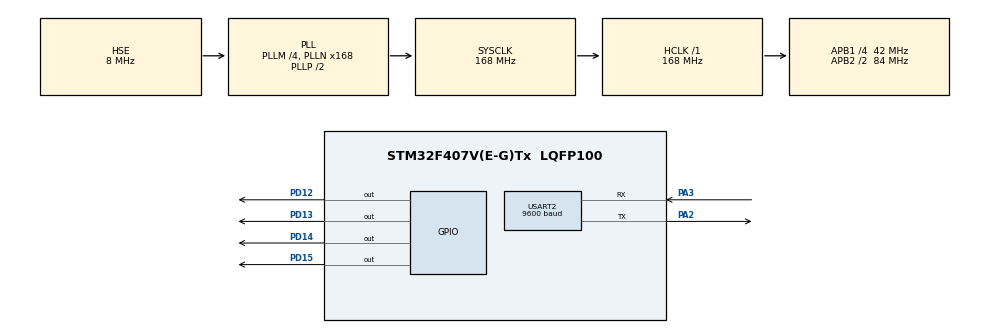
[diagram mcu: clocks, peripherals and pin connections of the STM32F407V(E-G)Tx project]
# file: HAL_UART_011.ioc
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Mcu.Family=STM32F4
Mcu.Name=STM32F407V(E-G)Tx
Mcu.Package=LQFP100
NVIC.PriorityGroup=NVIC_PRIORITYGROUP_4
NVIC.USART2_IRQn=true\:0\:0\:false\:false\:true\:true\:true\:true
PA13.Mode=Serial_Wire
PA13.Signal=SYS_JTMS-SWDIO
PA14.Mode=Serial_Wire
PA14.Signal=SYS_JTCK-SWCLK
PA2.Mode=Asynchronous
PA2.Signal=USART2_TX
PA3.Mode=Asynchronous
PA3.Signal=USART2_RX
PD12.Signal=GPIO_Output
PD13.Signal=GPIO_Output
PD14.Signal=GPIO_Output
PD15.Signal=GPIO_Output
PH0-OSC_IN.Mode=HSE-External-Oscillator
PH0-OSC_IN.Signal=RCC_OSC_IN
PH1-OSC_OUT.Mode=HSE-External-Oscillator
PH1-OSC_OUT.Signal=RCC_OSC_OUT
ProjectManager.HeapSize=0x200
ProjectManager.StackSize=0x400
ProjectManager.TargetToolchain=STM32CubeIDE
RCC.48MHZClocksFreq_Value=84000000
RCC.AHBFreq_Value=168000000
RCC.APB1CLKDivider=RCC_HCLK_DIV4
RCC.APB1Freq_Value=42000000
RCC.APB1TimFreq_Value=84000000
RCC.APB2CLKDivider=RCC_HCLK_DIV2
RCC.APB2Freq_Value=84000000
RCC.APB2TimFreq_Value=168000000
RCC.CortexFreq_Value=168000000
RCC.HCLKFreq_Value=168000000
RCC.HSE_VALUE=8000000
RCC.HSI_VALUE=16000000
RCC.LSE_VALUE=32768
RCC.PLLM=4
RCC.PLLN=168
RCC.PLLSourceVirtual=RCC_PLLSOURCE_HSE
RCC.SYSCLKFreq_VALUE=168000000
RCC.SYSCLKSource=RCC_SYSCLKSOURCE_PLLCLK
RCC.VCOOutputFreq_Value=336000000
USART2.BaudRate=9600
USART2.VirtualMode=VM_ASYNC
board=custom

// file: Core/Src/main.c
/* USER CODE BEGIN Header */
/**
  ******************************************************************************
  * @file           : main.c
  * @brief          : Main program body
  ******************************************************************************
  * @attention
  *
  * Copyright (c) 2024 STMicroelectronics.
  * All rights reserved.
  *
  * This software is licensed under terms that can be found in the LICENSE file
  * in the root directory of this software component.
  * If no LICENSE file comes with this software, it is provided AS-IS.
  *
  ******************************************************************************
  */
/* USER CODE END Header */
#include "main.h"

/* USER CODE BEGIN Includes */

#include "stdio.h"
#include "string.h"

char RxData[50];
char TxData[50];

/* USER CODE END Includes */

UART_HandleTypeDef huart2;

void SystemClock_Config(void);
static void MX_GPIO_Init(void);
static void MX_USART2_UART_Init(void);

/* USER CODE BEGIN 0 */

void HAL_UART_RxCpltCallback(UART_HandleTypeDef *huart)
{
	if(RxData[0] == 'o' && RxData[1] == '1')
	{
		HAL_GPIO_WritePin(GPIOD,GPIO_PIN_14,1);
		sprintf(TxData,"Red Led is on.\n\r");
		HAL_UART_Transmit_IT(&huart2, (uint8_t*)&TxData,sizeof(TxData));
	}
	if(RxData[0] == 'c' && RxData[1] == '1')
	{
		HAL_GPIO_WritePin(GPIOD,GPIO_PIN_14,0);
		sprintf(TxData,"Red Led is off.\n\r");
		HAL_UART_Transmit_IT(&huart2, (uint8_t*)&TxData,sizeof(TxData));
	}
	if(RxData[0] == 'o' && RxData[1] == '2')
	{
		HAL_GPIO_WritePin(GPIOD,GPIO_PIN_15,1);
		sprintf(TxData,"Blue Led is on.\n\r");
		HAL_UART_Transmit_IT(&huart2, (uint8_t*)&TxData,sizeof(TxData));
	}
	if(RxData[0] == 'c' && RxData[1] == '2')
	{
		HAL_GPIO_WritePin(GPIOD,GPIO_PIN_15,0);
		sprintf(TxData,"Blue Led is off.\n\r");
		HAL_UART_Transmit_IT(&huart2, (uint8_t*)&TxData,sizeof(TxData));
	}

	HAL_UART_Receive_IT(&huart2,(uint8_t*)&RxData,2);
}

/* USER CODE END 0 */

int main(void)
{

  /* MCU Configuration--------------------------------------------------------*/

  /* Reset of all peripherals, Initializes the Flash interface and the Systick. */
  HAL_Init();

  /* Configure the system clock */
  SystemClock_Config();

  /* Initialize all configured peripherals */
  MX_GPIO_Init();
  MX_USART2_UART_Init();
  /* USER CODE BEGIN 2 */

  HAL_UART_Receive_IT(&huart2,(uint8_t*)&RxData,2);

  /* USER CODE END 2 */

  /* Infinite loop */
  while (1)
  {

    /* USER CODE BEGIN 3 */
	  HAL_GPIO_TogglePin(GPIOD, GPIO_PIN_12 | GPIO_PIN_13);
	  HAL_Delay(1000);
  }
  /* USER CODE END 3 */
}

void SystemClock_Config(void)
{
  RCC_OscInitTypeDef RCC_OscInitStruct = {0};
  RCC_ClkInitTypeDef RCC_ClkInitStruct = {0};

  /** Configure the main internal regulator output voltage
  */
  __HAL_RCC_PWR_CLK_ENABLE();
  __HAL_PWR_VOLTAGESCALING_CONFIG(PWR_REGULATOR_VOLTAGE_SCALE1);

  /** Initializes the RCC Oscillators according to the specified parameters
  * in the RCC_OscInitTypeDef structure.
  */
  RCC_OscInitStruct.OscillatorType = RCC_OSCILLATORTYPE_HSE;
  RCC_OscInitStruct.HSEState = RCC_HSE_ON;
  RCC_OscInitStruct.PLL.PLLState = RCC_PLL_ON;
  RCC_OscInitStruct.PLL.PLLSource = RCC_PLLSOURCE_HSE;
  RCC_OscInitStruct.PLL.PLLM = 4;
  RCC_OscInitStruct.PLL.PLLN = 168;
  RCC_OscInitStruct.PLL.PLLP = RCC_PLLP_DIV2;
  RCC_OscInitStruct.PLL.PLLQ = 4;
  if (HAL_RCC_OscConfig(&RCC_OscInitStruct) != HAL_OK)
  {
    Error_Handler();
  }

  /** Initializes the CPU, AHB and APB buses clocks
  */
  RCC_ClkInitStruct.ClockType = RCC_CLOCKTYPE_HCLK|RCC_CLOCKTYPE_SYSCLK
                              |RCC_CLOCKTYPE_PCLK1|RCC_CLOCKTYPE_PCLK2;
  RCC_ClkInitStruct.SYSCLKSource = RCC_SYSCLKSOURCE_PLLCLK;
  RCC_ClkInitStruct.AHBCLKDivider = RCC_SYSCLK_DIV1;
  RCC_ClkInitStruct.APB1CLKDivider = RCC_HCLK_DIV4;
  RCC_ClkInitStruct.APB2CLKDivider = RCC_HCLK_DIV2;

  if (HAL_RCC_ClockConfig(&RCC_ClkInitStruct, FLASH_LATENCY_5) != HAL_OK)
  {
    Error_Handler();
  }
}

static void MX_USART2_UART_Init(void)
{

  huart2.Instance = USART2;
  huart2.Init.BaudRate = 9600;
  huart2.Init.WordLength = UART_WORDLENGTH_8B;
  huart2.Init.StopBits = UART_STOPBITS_1;
  huart2.Init.Parity = UART_PARITY_NONE;
  huart2.Init.Mode = UART_MODE_TX_RX;
  huart2.Init.HwFlowCtl = UART_HWCONTROL_NONE;
  huart2.Init.OverSampling = UART_OVERSAMPLING_16;
  if (HAL_UART_Init(&huart2) != HAL_OK)
  {
    Error_Handler();
  }

}

static void MX_GPIO_Init(void)
{
  GPIO_InitTypeDef GPIO_InitStruct = {0};

  /* GPIO Ports Clock Enable */
  __HAL_RCC_GPIOH_CLK_ENABLE();
  __HAL_RCC_GPIOA_CLK_ENABLE();
  __HAL_RCC_GPIOD_CLK_ENABLE();

  /*Configure GPIO pin Output Level */
  HAL_GPIO_WritePin(GPIOD, GPIO_PIN_12|GPIO_PIN_13|GPIO_PIN_14|GPIO_PIN_15, GPIO_PIN_RESET);

  /*Configure GPIO pins : PD12 PD13 PD14 PD15 */
  GPIO_InitStruct.Pin = GPIO_PIN_12|GPIO_PIN_13|GPIO_PIN_14|GPIO_PIN_15;
  GPIO_InitStruct.Mode = GPIO_MODE_OUTPUT_PP;
  GPIO_InitStruct.Pull = GPIO_NOPULL;
  GPIO_InitStruct.Speed = GPIO_SPEED_FREQ_LOW;
  HAL_GPIO_Init(GPIOD, &GPIO_InitStruct);

}

void Error_Handler(void)
{
  __disable_irq();
  while (1)
  {
  }
}
